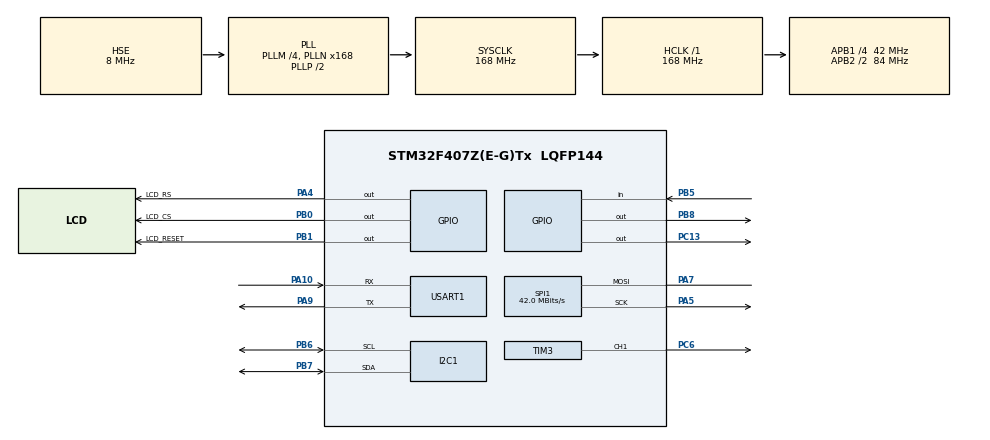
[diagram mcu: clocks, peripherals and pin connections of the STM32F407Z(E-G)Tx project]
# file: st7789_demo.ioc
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FREERTOS.Tasks01=defaultTask,24,128,StartDefaultTask,Default,NULL,Dynamic,NULL,NULL
Mcu.Family=STM32F4
Mcu.Name=STM32F407Z(E-G)Tx
Mcu.Package=LQFP144
NVIC.PriorityGroup=NVIC_PRIORITYGROUP_4
NVIC.TIM1_UP_TIM10_IRQn=true\:15\:0\:false\:false\:true\:false\:false\:true\:true
NVIC.TimeBase=TIM1_UP_TIM10_IRQn
NVIC.TimeBaseIP=TIM1
PA10.Mode=Asynchronous
PA10.Signal=USART1_RX
PA13.Mode=Serial_Wire
PA13.Signal=SYS_JTMS-SWDIO
PA14.Mode=Serial_Wire
PA14.Signal=SYS_JTCK-SWCLK
PA4.GPIO_Label=LCD_RS
PA4.Signal=GPIO_Output
PA5.Mode=Simplex_Bidirectional_Master
PA5.Signal=SPI1_SCK
PA7.Mode=Simplex_Bidirectional_Master
PA7.Signal=SPI1_MOSI
PA9.Mode=Asynchronous
PA9.Signal=USART1_TX
PB0.GPIO_Label=LCD_CS
PB0.Signal=GPIO_Output
PB1.GPIO_Label=LCD_RESET
PB1.Signal=GPIO_Output
PB5.Signal=GPIO_Input
PB6.Mode=I2C
PB6.Signal=I2C1_SCL
PB7.Mode=I2C
PB7.Signal=I2C1_SDA
PB8.Signal=GPIO_Output
PC13-ANTI_TAMP.Signal=GPIO_Output
PC6.Signal=S_TIM3_CH1
PH0-OSC_IN.Mode=HSE-External-Oscillator
PH0-OSC_IN.Signal=RCC_OSC_IN
PH1-OSC_OUT.Mode=HSE-External-Oscillator
PH1-OSC_OUT.Signal=RCC_OSC_OUT
ProjectManager.HeapSize=0x200
ProjectManager.StackSize=0x400
ProjectManager.TargetToolchain=MDK-ARM V5.32
RCC.48MHZClocksFreq_Value=84000000
RCC.AHBFreq_Value=168000000
RCC.APB1CLKDivider=RCC_HCLK_DIV4
RCC.APB1Freq_Value=42000000
RCC.APB1TimFreq_Value=84000000
RCC.APB2CLKDivider=RCC_HCLK_DIV2
RCC.APB2Freq_Value=84000000
RCC.APB2TimFreq_Value=168000000
RCC.CortexFreq_Value=168000000
RCC.HCLKFreq_Value=168000000
RCC.HSE_VALUE=8000000
RCC.HSI_VALUE=16000000
RCC.LSE_VALUE=32768
RCC.PLLM=4
RCC.PLLN=168
RCC.PLLSourceVirtual=RCC_PLLSOURCE_HSE
RCC.SYSCLKFreq_VALUE=168000000
RCC.SYSCLKSource=RCC_SYSCLKSOURCE_PLLCLK
RCC.VCOOutputFreq_Value=336000000
SH.S_TIM3_CH1.0=TIM3_CH1,PWM Generation1 CH1
SPI1.CalculateBaudRate=42.0 MBits/s
SPI1.Direction=SPI_DIRECTION_1LINE
SPI1.Mode=SPI_MODE_MASTER
SPI1.VirtualType=VM_MASTER
TIM3.Channel-PWM\ Generation1\ CH1=TIM_CHANNEL_1
TIM3.Period=3000-1
TIM3.Prescaler=168-1
TIM3.Pulse-PWM\ Generation1\ CH1=1500
USART1.VirtualMode=VM_ASYNC
VP_FREERTOS_VS_CMSIS_V2.Mode=CMSIS_V2
VP_SYS_VS_tim1.Mode=TIM1
VP_TIM3_VS_ClockSourceINT.Mode=Internal
board=custom

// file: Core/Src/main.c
/* USER CODE BEGIN Header */
/**
  ******************************************************************************
  * @file           : main.c
  * @brief          : Main program body
  ******************************************************************************
  * @attention
  *
  * Copyright (c) 2026 STMicroelectronics.
  * All rights reserved.
  *
  * This software is licensed under terms that can be found in the LICENSE file
  * in the root directory of this software component.
  * If no LICENSE file comes with this software, it is provided AS-IS.
  *
  ******************************************************************************
  */
/* USER CODE END Header */
#include "main.h"
#include "cmsis_os.h"
#include "i2c.h"
#include "spi.h"
#include "tim.h"
#include "usart.h"
#include "gpio.h"

/* USER CODE BEGIN Includes */
#include "LCD_Test.h"
#include "image.h"
#include "LCD_1in69.h"
#include "DEV_Config.h"
#include "CST816T.h"
/* USER CODE END Includes */

void SystemClock_Config(void);
void MX_FREERTOS_Init(void);

int main(void)
{

  /* MCU Configuration--------------------------------------------------------*/

  /* Reset of all peripherals, Initializes the Flash interface and the Systick. */
  HAL_Init();

  /* Configure the system clock */
  SystemClock_Config();

  /* Initialize all configured peripherals */
  MX_GPIO_Init();
  MX_TIM3_Init();
  MX_SPI1_Init();
  MX_I2C1_Init();
  MX_USART1_UART_Init();
  /* USER CODE BEGIN 2 */
	HAL_TIM_PWM_Start(&htim3,TIM_CHANNEL_1);
  /* USER CODE END 2 */

  /* Init scheduler */
  osKernelInitialize();

  /* Call init function for freertos objects (in cmsis_os2.c) */
  MX_FREERTOS_Init();

  /* Start scheduler */
  osKernelStart();

  /* We should never get here as control is now taken by the scheduler */

  /* Infinite loop */
  while (1)
  {

  }
}

void SystemClock_Config(void)
{
  RCC_OscInitTypeDef RCC_OscInitStruct = {0};
  RCC_ClkInitTypeDef RCC_ClkInitStruct = {0};

  /** Configure the main internal regulator output voltage
  */
  __HAL_RCC_PWR_CLK_ENABLE();
  __HAL_PWR_VOLTAGESCALING_CONFIG(PWR_REGULATOR_VOLTAGE_SCALE1);

  /** Initializes the RCC Oscillators according to the specified parameters
  * in the RCC_OscInitTypeDef structure.
  */
  RCC_OscInitStruct.OscillatorType = RCC_OSCILLATORTYPE_HSE;
  RCC_OscInitStruct.HSEState = RCC_HSE_ON;
  RCC_OscInitStruct.PLL.PLLState = RCC_PLL_ON;
  RCC_OscInitStruct.PLL.PLLSource = RCC_PLLSOURCE_HSE;
  RCC_OscInitStruct.PLL.PLLM = 4;
  RCC_OscInitStruct.PLL.PLLN = 168;
  RCC_OscInitStruct.PLL.PLLP = RCC_PLLP_DIV2;
  RCC_OscInitStruct.PLL.PLLQ = 4;
  if (HAL_RCC_OscConfig(&RCC_OscInitStruct) != HAL_OK)
  {
    Error_Handler();
  }

  /** Initializes the CPU, AHB and APB buses clocks
  */
  RCC_ClkInitStruct.ClockType = RCC_CLOCKTYPE_HCLK|RCC_CLOCKTYPE_SYSCLK
                              |RCC_CLOCKTYPE_PCLK1|RCC_CLOCKTYPE_PCLK2;
  RCC_ClkInitStruct.SYSCLKSource = RCC_SYSCLKSOURCE_PLLCLK;
  RCC_ClkInitStruct.AHBCLKDivider = RCC_SYSCLK_DIV1;
  RCC_ClkInitStruct.APB1CLKDivider = RCC_HCLK_DIV4;
  RCC_ClkInitStruct.APB2CLKDivider = RCC_HCLK_DIV2;

  if (HAL_RCC_ClockConfig(&RCC_ClkInitStruct, FLASH_LATENCY_5) != HAL_OK)
  {
    Error_Handler();
  }
}

void HAL_TIM_PeriodElapsedCallback(TIM_HandleTypeDef *htim)
{
  if (htim->Instance == TIM1)
  {
    HAL_IncTick();
  }
}

void Error_Handler(void)
{
  __disable_irq();
  while (1)
  {
  }
}

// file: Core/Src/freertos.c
/* USER CODE BEGIN Header */
/**
  ******************************************************************************
  * File Name          : freertos.c
  * Description        : Code for freertos applications
  ******************************************************************************
  * @attention
  *
  * Copyright (c) 2026 STMicroelectronics.
  * All rights reserved.
  *
  * This software is licensed under terms that can be found in the LICENSE file
  * in the root directory of this software component.
  * If no LICENSE file comes with this software, it is provided AS-IS.
  *
  ******************************************************************************
  */
/* USER CODE END Header */

#include "FreeRTOS.h"
#include "task.h"
#include "main.h"
#include "cmsis_os.h"

/* USER CODE BEGIN Includes */
#include "LCD_Test.h"
#include "image.h"
#include "LCD_1in69.h"
#include "DEV_Config.h"
#include "CST816T.h"
#include "i2c.h"
#include "spi.h"
#include "tim.h"
#include "usart.h"
#include "gpio.h"
/* USER CODE END Includes */

/* Definitions for defaultTask */
osThreadId_t defaultTaskHandle;
const osThreadAttr_t defaultTask_attributes = {
  .name = "defaultTask",
  .stack_size = 128 * 4,
  .priority = (osPriority_t) osPriorityNormal,
};

/* USER CODE BEGIN FunctionPrototypes */
void LCD_Proc(void *argument);
void TCH_Proc(void *argument);
void led_proc(void *argument);
/* USER CODE END FunctionPrototypes */

void StartDefaultTask(void *argument);

void MX_FREERTOS_Init(void); /* (MISRA C 2004 rule 8.1) */

void MX_FREERTOS_Init(void) {

  /* Create the thread(s) */
  /* creation of defaultTask */
  defaultTaskHandle = osThreadNew(StartDefaultTask, NULL, &defaultTask_attributes);

  /* USER CODE BEGIN RTOS_THREADS */
  /* add threads, ... */
	xTaskCreate(LCD_Proc,"LCD_Task",512*4,NULL,osPriorityBelowNormal7,NULL);
	xTaskCreate(TCH_Proc,"TCH_Task",128*4,NULL,osPriorityNormal,NULL);
	xTaskCreate(led_proc,"led_Task",128*4,NULL,osPriorityNormal,NULL);
  /* USER CODE END RTOS_THREADS */

}

void StartDefaultTask(void *argument)
{
  for(;;)
  {
    osDelay(1);
  }
}

/* USER CODE BEGIN Application */
void LCD_Proc(void *argument)
{
	uint16_t color_group[6] = {WHITE,RED,BLUE,GREEN,GRAY,BRRED};
	uint8_t i = 0;
	DEV_Module_Init();
	LCD_1IN69_SetBackLight(1000);
	LCD_1IN69_Init(VERTICAL);
	LCD_1IN69_Clear(WHITE);
	LCD_Fill(30,30,50,50,BLACK);
	osDelay(500);
  for(;;)
  {
		if(++i >= 6)
			i = 0;
		LCD_Fill(0,0,240,280,color_group[i]);
  }
}
void TCH_Proc(void *argument)
{
	uint16_t position_x = 0;
	uint16_t position_y = 0;
	uint8_t ch[16] = {0};

	CST816T_Init();
	uint8_t id = CST816T_GetChipID();
	int len = sprintf((char*)ch, "id: %X\r\n", id);
	HAL_UART_Transmit(&huart1, ch, len, 10);
	osDelay(2000);
  for(;;)
  {
    if(CST816T_Read_Sensor(&position_x,&position_y))
		{
			len = sprintf((char*)ch, "X: %d ,Y: %d\r\n", position_x,position_y);
        HAL_UART_Transmit(&huart1, ch, len, 10);
    }
		osDelay(50);
  }
}

void led_proc(void *argument)
{
	while(1)
	{
		HAL_GPIO_TogglePin(GPIOC, GPIO_PIN_13);
		osDelay(500); // �ؼ�������������������̬���ͷ� CPU ������
	}
}
